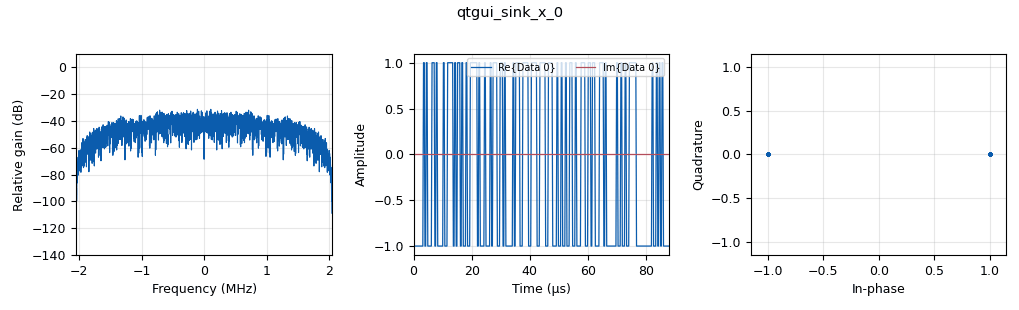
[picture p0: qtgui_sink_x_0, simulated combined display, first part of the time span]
options:
  parameters:
    author: syml
    generate_options: qt_gui
    id: bpsk_tx_demo
    output_language: python
    title: BPSK_TX
  states: {}

blocks:
- name: bpsk
  id: variable_constellation
  parameters:
    precision: '8'
    type: bpsk
  states: {}
- name: rx_gain
  id: variable_qtgui_range
  parameters:
    label: RX Gain
    start: '0'
    step: '0.01'
    stop: '1'
    value: '0.3'
  states: {}
- name: samp_rate
  id: variable
  parameters:
    value: 4.092e6
  states: {}
- name: tx_gain
  id: variable_qtgui_range
  parameters:
    label: TX Gain
    start: '0'
    step: '0.01'
    stop: '1'
    value: '0.3'
  states: {}
- name: blocks_add_const_vxx_0
  id: blocks_add_const_vxx
  parameters:
    const: ord("0")
    type: byte
  states: {state: disabled}
- name: blocks_file_sink_0
  id: blocks_file_sink
  parameters:
    file: /home/syml/Temp/1.txt
    type: byte
  states: {state: disabled}
- name: blocks_keep_one_in_n_0
  id: blocks_keep_one_in_n
  parameters:
    n: '2'
    type: byte
  states: {state: disabled}
- name: blocks_repack_bits_bb_0
  id: blocks_repack_bits_bb
  parameters:
    endianness: gr.GR_LSB_FIRST
    k: '4'
    l: '1'
  states: {state: disabled}
- name: blocks_repack_bits_bb_0_0
  id: blocks_repack_bits_bb
  parameters:
    endianness: gr.GR_LSB_FIRST
    k: '3'
    l: '1'
  states: {}
- name: blocks_repack_bits_bb_1
  id: blocks_repack_bits_bb
  parameters:
    endianness: gr.GR_LSB_FIRST
    k: '1'
    l: '3'
  states: {state: disabled}
- name: blocks_repeat_0
  id: blocks_repeat
  parameters:
    interp: int(samp_rate) // 20
    type: byte
  states: {state: disabled}
- name: blocks_repeat_0_0
  id: blocks_repeat
  parameters:
    interp: int(samp_rate) // 1000
    type: byte
  states: {state: disabled}
- name: blocks_repeat_0_0_0
  id: blocks_repeat
  parameters:
    interp: int(samp_rate) // 2046000
    type: byte
  states: {}
- name: blocks_vector_source_x_0
  id: blocks_vector_source_x
  parameters:
    repeat: 'True'
    type: byte
    vector: (0,0,0,0,0,1,0,0,1,1,0,1,0,1,0,0,1,1,1,0)
  states: {state: disabled}
- name: blocks_vector_source_x_1
  id: blocks_vector_source_x
  parameters:
    comment: sat 12
    repeat: 'True'
    type: byte
    vector: vecsrc.hex2vec("e24046d288d22ff9eff7fa4000154400196d5f9c6afb5faa0c590050400fb2a839a66b0c80e24086da8c927fecc1571300cf23a8884be27c0b987e111109c81550f75881e81869a12b0e240c6e6ddc63eba4ed914eabe21ffaa8a4c5501401d2dba486774f52d17cada063e1e4c0e24106ca88837ebecdcd8e5ff55ffdf8fd619e2810091aaecac8440521a183284e2d41a0a86e24146f688837ebecdcd8e5ff55ffdf8fd619e2810091aaecac8440521a183284e2d41a0a86")
  states: {state: disabled}
- name: blocks_vector_source_x_2
  id: blocks_vector_source_x
  parameters:
    repeat: 'True'
    type: byte
    vector: vecsrc.oct2vec("5325507244542270142226375354213320511323745505442460133153405016046624463425074756020554104054051450307202074614075067115565633345175550603076032763773101753344360774273121350240675545451750466635155052451217647220625647117335141326330747663261300054541275165213041015107454744332776702277341022332077445137403165553072454046216343377033526600647672256634377420626736764241147712444260570055745534753515333514152225606705137540167215736160164621714703104176015155635101476515075137504272440630414626270316547642730756761275663404162220601601063014150523062067323466712774565146557675231355210136220050314472311731246131053636363612226407451650022267000442101724730742364636607761326")
  states: {}
- name: blocks_vector_source_x_3
  id: blocks_vector_source_x
  parameters:
    repeat: 'True'
    type: byte
    vector: (0, )
  states: {}
- name: blocks_xor_xx_1
  id: blocks_xor_xx
  parameters:
    num_inputs: '3'
    type: byte
  states: {}
- name: digital_constellation_decoder_cb_0
  id: digital_constellation_decoder_cb
  parameters:
    constellation: bpsk
  states: {state: disabled}
- name: digital_constellation_encoder_bc_0
  id: digital_constellation_encoder_bc
  parameters:
    constellation: bpsk
  states: {}
- name: digital_costas_loop_cc_0
  id: digital_costas_loop_cc
  parameters:
    order: '2'
    w: '0.628'
  states: {state: disabled}
- name: qtgui_sink_x_0
  id: qtgui_sink_x
  parameters:
    bw: samp_rate
    fc: '0'
    fftsize: '4096'
    type: complex
  states: {}
- name: qtgui_sink_x_0_0
  id: qtgui_sink_x
  parameters:
    bw: samp_rate
    fc: '0'
    fftsize: '4096'
    type: complex
  states: {state: disabled}
- name: uhd_usrp_sink_0
  id: uhd_usrp_sink
  parameters:
    ant0: '"TX/RX"'
    center_freq0: 1561.098e6
    clock_source0: internal
    dev_args: type=soapy
    gain0: tx_gain
    gain_type0: normalized
    samp_rate: samp_rate
    sync: none
    type: fc32
  states: {}
- name: uhd_usrp_source_0
  id: uhd_usrp_source
  parameters:
    ant0: '"TX/RX"'
    center_freq0: 1561.098e6
    dev_args: type=b200
    gain0: rx_gain
    gain_type0: normalized
    rx_agc0: Disabled
    samp_rate: samp_rate
    sync: pc_clock
    type: fc32
  states: {state: disabled}
- name: vecsrc
  id: epy_module
  parameters:
    source_code: |
      # this module will be imported in the into your flowgraph
      import numpy as np


      def hex2vec(data: str):
          v = []
          for i in data:
              v.append(int(i, 16))
          return v

      def oct2vec(data: str):
          v = []
          for i in data:
              v.append(int(i, 8))
          return v
  states: {}

connections:
- [blocks_add_const_vxx_0, '0', blocks_file_sink_0, '0']
- [blocks_keep_one_in_n_0, '0', blocks_repack_bits_bb_1, '0']
- [blocks_repack_bits_bb_0, '0', blocks_repeat_0, '0']
- [blocks_repack_bits_bb_0_0, '0', blocks_repeat_0_0_0, '0']
- [blocks_repack_bits_bb_1, '0', blocks_add_const_vxx_0, '0']
- [blocks_repeat_0, '0', blocks_xor_xx_1, '0']
- [blocks_repeat_0_0, '0', blocks_xor_xx_1, '1']
- [blocks_repeat_0_0_0, '0', blocks_xor_xx_1, '2']
- [blocks_vector_source_x_0, '0', blocks_repeat_0_0, '0']
- [blocks_vector_source_x_1, '0', blocks_repack_bits_bb_0, '0']
- [blocks_vector_source_x_2, '0', blocks_repack_bits_bb_0_0, '0']
- [blocks_vector_source_x_3, '0', blocks_xor_xx_1, '0']
- [blocks_vector_source_x_3, '0', blocks_xor_xx_1, '1']
- [blocks_xor_xx_1, '0', digital_constellation_encoder_bc_0, '0']
- [digital_constellation_decoder_cb_0, '0', blocks_keep_one_in_n_0, '0']
- [digital_constellation_encoder_bc_0, '0', qtgui_sink_x_0, '0']
- [digital_constellation_encoder_bc_0, '0', uhd_usrp_sink_0, '0']
- [digital_costas_loop_cc_0, '0', digital_constellation_decoder_cb_0, '0']
- [digital_costas_loop_cc_0, '0', qtgui_sink_x_0_0, '0']
- [uhd_usrp_source_0, '0', digital_costas_loop_cc_0, '0']

metadata:
  file_format: 1
  grc_version: 3.10.5.0
